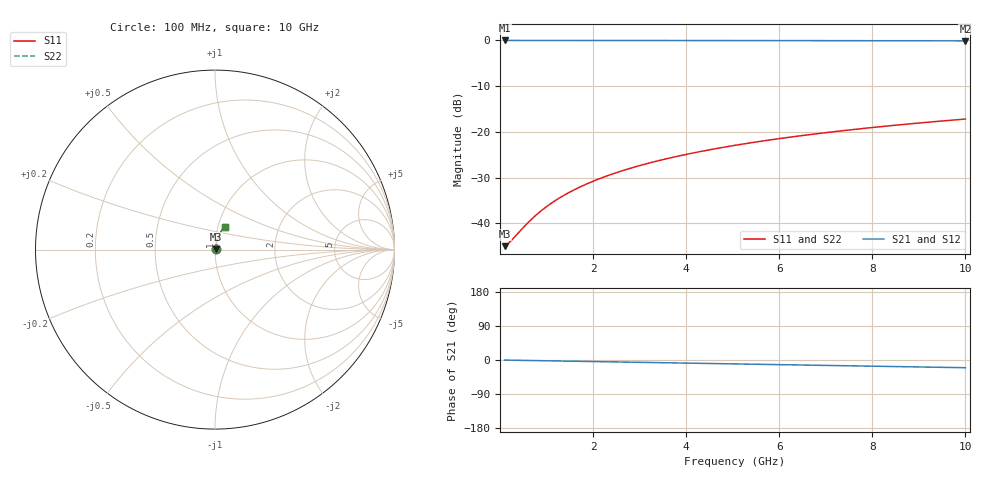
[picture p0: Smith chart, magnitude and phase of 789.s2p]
# Hz S RI R 50.00
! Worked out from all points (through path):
!   100 points, 100 MHz to 10 GHz, reference 50 ohm
!   highest |S21| = -0.05 dB at 100 MHz (marker M1); lowest = -0.1 dB at 10 GHz (marker M2)
!   group delay of S21, straight-line fit = 5.66 ps
!   lowest |S11| = -45.0 dB at 100 MHz (marker M3), VSWR 1.01, Z = 50.5 + j0.141 ohm
!   |S11| at or under -10 dB: start of sweep to end of sweep
!   |S22| runs from -45.0 to -17.2 dB; largest |S21 - S12| = 0
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1e8  0.00546 0.00139  0.9945 -0.00355  0.9945 -0.00355  0.00546 0.00139
2e8  0.00551 0.00279  0.9945 -0.0071  0.9945 -0.0071  0.00551 0.00279
3e8  0.00556 0.00418  0.9944 -0.0107  0.9944 -0.0107  0.00556 0.00418
5e8  0.00567 0.00697  0.9943 -0.0177  0.9943 -0.0177  0.00567 0.00697
7e8  0.00582 0.00976  0.994 -0.0248  0.994 -0.0248  0.00582 0.00976
9e8  0.00601 0.0125  0.9938 -0.0319  0.9938 -0.0319  0.00601 0.0125
1.1e9  0.00623 0.0153  0.9935 -0.039  0.9935 -0.039  0.00623 0.0153
1.3e9  0.00648 0.0181  0.9931 -0.0461  0.9931 -0.0461  0.00648 0.0181
1.5e9  0.00678 0.0209  0.9927 -0.0532  0.9927 -0.0532  0.00678 0.0209
1.8e9  0.0073 0.025  0.9919 -0.0638  0.9919 -0.0638  0.0073 0.025
2.1e9  0.0079 0.0291  0.991 -0.0744  0.991 -0.0744  0.0079 0.0291
2.5e9  0.00883 0.0346  0.9897 -0.0885  0.9897 -0.0885  0.00883 0.0346
2.9e9  0.00993 0.0401  0.9881 -0.1026  0.9881 -0.1026  0.00993 0.0401
3.4e9  0.0115 0.0469  0.9857 -0.1202  0.9857 -0.1202  0.0115 0.0469
3.8e9  0.0129 0.0522  0.9836 -0.1342  0.9836 -0.1342  0.0129 0.0522
4.2e9  0.0145 0.0576  0.9813 -0.1481  0.9813 -0.1481  0.0145 0.0576
5.1e9  0.0187 0.0694  0.9752 -0.1793  0.9752 -0.1793  0.0187 0.0694
5.9e9  0.0229 0.0796  0.9688 -0.2068  0.9688 -0.2068  0.0229 0.0796
6.7e9  0.0278 0.0895  0.9616 -0.234  0.9616 -0.234  0.0278 0.0895
7.5e9  0.0332 0.0992  0.9535 -0.2609  0.9535 -0.2609  0.0332 0.0992
8.4e9  0.0399 0.1096  0.9434 -0.2907  0.9434 -0.2907  0.0399 0.1096
1e10  0.0534 0.127  0.9229 -0.3425  0.9229 -0.3425  0.0534 0.127
